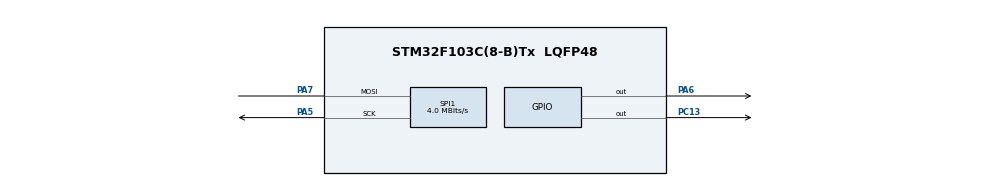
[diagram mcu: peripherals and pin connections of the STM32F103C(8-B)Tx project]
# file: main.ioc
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Mcu.Family=STM32F1
Mcu.Name=STM32F103C(8-B)Tx
Mcu.Package=LQFP48
NVIC.PriorityGroup=NVIC_PRIORITYGROUP_4
PA13.Mode=Serial_Wire
PA13.Signal=SYS_JTMS-SWDIO
PA14.Mode=Serial_Wire
PA14.Signal=SYS_JTCK-SWCLK
PA5.Mode=Simplex_Bidirectional_Master
PA5.Signal=SPI1_SCK
PA6.Signal=GPIO_Output
PA7.Mode=Simplex_Bidirectional_Master
PA7.Signal=SPI1_MOSI
PC13-TAMPER-RTC.Signal=GPIO_Output
ProjectManager.HeapSize=0x200
ProjectManager.StackSize=0x400
ProjectManager.TargetToolchain=Makefile
RCC.APB1Freq_Value=8000000
RCC.APB2Freq_Value=8000000
SPI1.CalculateBaudRate=4.0 MBits/s
SPI1.Direction=SPI_DIRECTION_1LINE
SPI1.Mode=SPI_MODE_MASTER
SPI1.VirtualType=VM_MASTER
board=blue-pill-blink

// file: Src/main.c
/* USER CODE BEGIN Header */
/**
  ******************************************************************************
  * @file           : main.c
  * @brief          : Main program body
  ******************************************************************************
  ** This notice applies to any and all portions of this file
  * that are not between comment pairs USER CODE BEGIN and
  * USER CODE END. Other portions of this file, whether
  * inserted by the user or by software development tools
  * are owned by their respective copyright owners.
  *
  * COPYRIGHT(c) 2021 STMicroelectronics
  *
  * Redistribution and use in source and binary forms, with or without modification,
  * are permitted provided that the following conditions are met:
  *   1. Redistributions of source code must retain the above copyright notice,
  *      this list of conditions and the following disclaimer.
  *   2. Redistributions in binary form must reproduce the above copyright notice,
  *      this list of conditions and the following disclaimer in the documentation
  *      and/or other materials provided with the distribution.
  *   3. Neither the name of STMicroelectronics nor the names of its contributors
  *      may be used to endorse or promote products derived from this software
  *      without specific prior written permission.
  *
  * THIS SOFTWARE IS PROVIDED BY THE COPYRIGHT HOLDERS AND CONTRIBUTORS "AS IS"
  * AND ANY EXPRESS OR IMPLIED WARRANTIES, INCLUDING, BUT NOT LIMITED TO, THE
  * IMPLIED WARRANTIES OF MERCHANTABILITY AND FITNESS FOR A PARTICULAR PURPOSE ARE
  * DISCLAIMED. IN NO EVENT SHALL THE COPYRIGHT HOLDER OR CONTRIBUTORS BE LIABLE
  * FOR ANY DIRECT, INDIRECT, INCIDENTAL, SPECIAL, EXEMPLARY, OR CONSEQUENTIAL
  * DAMAGES (INCLUDING, BUT NOT LIMITED TO, PROCUREMENT OF SUBSTITUTE GOODS OR
  * SERVICES; LOSS OF USE, DATA, OR PROFITS; OR BUSINESS INTERRUPTION) HOWEVER
  * CAUSED AND ON ANY THEORY OF LIABILITY, WHETHER IN CONTRACT, STRICT LIABILITY,
  * OR TORT (INCLUDING NEGLIGENCE OR OTHERWISE) ARISING IN ANY WAY OUT OF THE USE
  * OF THIS SOFTWARE, EVEN IF ADVISED OF THE POSSIBILITY OF SUCH DAMAGE.
  *
  ******************************************************************************
  */
/* USER CODE END Header */

#include "main.h"

/* USER CODE BEGIN Includes */
#include <max7219.h>
/* USER CODE END Includes */

SPI_HandleTypeDef hspi1;

/* USER CODE BEGIN PV */
/* Private variables ---------------------------------------------------------*/

/* USER CODE END PV */

void SystemClock_Config(void);
static void MX_GPIO_Init(void);
static void MX_SPI1_Init(void);
/* USER CODE BEGIN PFP */
/* Private function prototypes -----------------------------------------------*/

/* USER CODE END PFP */

/* USER CODE BEGIN 0 */
void init() {
	max7219_Init();
	max7219_SetIntensivity(0);
	max7219_TurnOn();
}

void loop() {
	// Display "01234567"
	max7219_SendData(8, MAX7219_SYM_0);
	max7219_SendData(7, MAX7219_SYM_1);
	max7219_SendData(6, MAX7219_SYM_2);
	max7219_SendData(5, MAX7219_SYM_3);
	max7219_SendData(4, MAX7219_SYM_4);
	max7219_SendData(3, MAX7219_SYM_5);
	max7219_SendData(2, MAX7219_SYM_6);
	max7219_SendData(1, MAX7219_SYM_7);
    HAL_Delay(3000);

	// Display "89ABCDEF"
	max7219_SendData(8, MAX7219_SYM_8);
	max7219_SendData(7, MAX7219_SYM_9);
	max7219_SendData(6, MAX7219_SYM_A);
	max7219_SendData(5, MAX7219_SYM_B);
	max7219_SendData(4, MAX7219_SYM_C);
	max7219_SendData(3, MAX7219_SYM_D);
	max7219_SendData(2, MAX7219_SYM_E);
	max7219_SendData(1, MAX7219_SYM_F);
    HAL_Delay(3000);

	// Display "tr14.012.3"
	max7219_SendData(8, MAX7219_SYM_T);
	max7219_SendData(7, MAX7219_SYM_R);
	max7219_SendData(6, MAX7219_SYM_1);
	max7219_SendData(5, MAX7219_SYM_4 | MAX7219_SYM_DOT);
	max7219_SendData(4, MAX7219_SYM_0);
	max7219_SendData(3, MAX7219_SYM_1);
	max7219_SendData(2, MAX7219_SYM_2 | MAX7219_SYM_DOT);
	max7219_SendData(1, MAX7219_SYM_3);
    HAL_Delay(3000);

	// Display "SPEEd --"
	max7219_SendData(8, MAX7219_SYM_S);
	max7219_SendData(7, MAX7219_SYM_P);
	max7219_SendData(6, MAX7219_SYM_E);
	max7219_SendData(5, MAX7219_SYM_E);
	max7219_SendData(4, MAX7219_SYM_D);
	max7219_SendData(3, MAX7219_SYM_BLANK);
	max7219_SendData(2, MAX7219_SYM_MINUS);
	max7219_SendData(1, MAX7219_SYM_MINUS);
    HAL_Delay(3000);

	// Display "LIGHt on"
	max7219_SendData(8, MAX7219_SYM_L);
	max7219_SendData(7, MAX7219_SYM_I);
	max7219_SendData(6, MAX7219_SYM_G);
	max7219_SendData(5, MAX7219_SYM_H);
	max7219_SendData(4, MAX7219_SYM_T);
	max7219_SendData(3, MAX7219_SYM_BLANK);
	max7219_SendData(2, MAX7219_SYM_O);
	max7219_SendData(1, MAX7219_SYM_N);
    HAL_Delay(3000);

	// Display "YES no  "
	max7219_SendData(8, MAX7219_SYM_Y);
	max7219_SendData(7, MAX7219_SYM_E);
	max7219_SendData(6, MAX7219_SYM_S);
	max7219_SendData(5, MAX7219_SYM_BLANK);
	max7219_SendData(4, MAX7219_SYM_N);
	max7219_SendData(3, MAX7219_SYM_O);
	max7219_SendData(2, MAX7219_SYM_BLANK);
	max7219_SendData(1, MAX7219_SYM_BLANK);
    HAL_Delay(3000);

	// Display "PHASE 3°"
	max7219_SendData(8, MAX7219_SYM_P);
	max7219_SendData(7, MAX7219_SYM_H);
	max7219_SendData(6, MAX7219_SYM_A);
	max7219_SendData(5, MAX7219_SYM_S);
	max7219_SendData(4, MAX7219_SYM_E);
	max7219_SendData(3, MAX7219_SYM_BLANK);
	max7219_SendData(2, MAX7219_SYM_3);
	max7219_SendData(1, MAX7219_SYM_DEGREE);
    HAL_Delay(3000);

}

/* USER CODE END 0 */

int main(void)
{

  /* MCU Configuration--------------------------------------------------------*/

  /* Reset of all peripherals, Initializes the Flash interface and the Systick. */
  HAL_Init();

  /* Configure the system clock */
  SystemClock_Config();

  /* Initialize all configured peripherals */
  MX_GPIO_Init();
  MX_SPI1_Init();
  /* USER CODE BEGIN 2 */
  init();

  /* USER CODE END 2 */

  /* Infinite loop */
  /* USER CODE BEGIN WHILE */
  while (1)
  {
    loop();
    /* USER CODE END WHILE */

  }
}

void SystemClock_Config(void)
{
  RCC_OscInitTypeDef RCC_OscInitStruct = {0};
  RCC_ClkInitTypeDef RCC_ClkInitStruct = {0};

  /**Initializes the CPU, AHB and APB busses clocks
  */
  RCC_OscInitStruct.OscillatorType = RCC_OSCILLATORTYPE_HSI;
  RCC_OscInitStruct.HSIState = RCC_HSI_ON;
  RCC_OscInitStruct.HSICalibrationValue = RCC_HSICALIBRATION_DEFAULT;
  RCC_OscInitStruct.PLL.PLLState = RCC_PLL_NONE;
  if (HAL_RCC_OscConfig(&RCC_OscInitStruct) != HAL_OK)
  {
    Error_Handler();
  }
  /**Initializes the CPU, AHB and APB busses clocks
  */
  RCC_ClkInitStruct.ClockType = RCC_CLOCKTYPE_HCLK|RCC_CLOCKTYPE_SYSCLK
                              |RCC_CLOCKTYPE_PCLK1|RCC_CLOCKTYPE_PCLK2;
  RCC_ClkInitStruct.SYSCLKSource = RCC_SYSCLKSOURCE_HSI;
  RCC_ClkInitStruct.AHBCLKDivider = RCC_SYSCLK_DIV1;
  RCC_ClkInitStruct.APB1CLKDivider = RCC_HCLK_DIV1;
  RCC_ClkInitStruct.APB2CLKDivider = RCC_HCLK_DIV1;

  if (HAL_RCC_ClockConfig(&RCC_ClkInitStruct, FLASH_LATENCY_0) != HAL_OK)
  {
    Error_Handler();
  }
}

static void MX_SPI1_Init(void)
{

  /* SPI1 parameter configuration*/
  hspi1.Instance = SPI1;
  hspi1.Init.Mode = SPI_MODE_MASTER;
  hspi1.Init.Direction = SPI_DIRECTION_1LINE;
  hspi1.Init.DataSize = SPI_DATASIZE_8BIT;
  hspi1.Init.CLKPolarity = SPI_POLARITY_LOW;
  hspi1.Init.CLKPhase = SPI_PHASE_1EDGE;
  hspi1.Init.NSS = SPI_NSS_SOFT;
  hspi1.Init.BaudRatePrescaler = SPI_BAUDRATEPRESCALER_2;
  hspi1.Init.FirstBit = SPI_FIRSTBIT_MSB;
  hspi1.Init.TIMode = SPI_TIMODE_DISABLE;
  hspi1.Init.CRCCalculation = SPI_CRCCALCULATION_DISABLE;
  hspi1.Init.CRCPolynomial = 10;
  if (HAL_SPI_Init(&hspi1) != HAL_OK)
  {
    Error_Handler();
  }

}

static void MX_GPIO_Init(void)
{
  GPIO_InitTypeDef GPIO_InitStruct = {0};

  /* GPIO Ports Clock Enable */
  __HAL_RCC_GPIOC_CLK_ENABLE();
  __HAL_RCC_GPIOA_CLK_ENABLE();

  /*Configure GPIO pin Output Level */
  HAL_GPIO_WritePin(GPIOC, GPIO_PIN_13, GPIO_PIN_RESET);

  /*Configure GPIO pin Output Level */
  HAL_GPIO_WritePin(GPIOA, GPIO_PIN_6, GPIO_PIN_RESET);

  /*Configure GPIO pin : PC13 */
  GPIO_InitStruct.Pin = GPIO_PIN_13;
  GPIO_InitStruct.Mode = GPIO_MODE_OUTPUT_PP;
  GPIO_InitStruct.Pull = GPIO_NOPULL;
  GPIO_InitStruct.Speed = GPIO_SPEED_FREQ_LOW;
  HAL_GPIO_Init(GPIOC, &GPIO_InitStruct);

  /*Configure GPIO pin : PA6 */
  GPIO_InitStruct.Pin = GPIO_PIN_6;
  GPIO_InitStruct.Mode = GPIO_MODE_OUTPUT_PP;
  GPIO_InitStruct.Pull = GPIO_NOPULL;
  GPIO_InitStruct.Speed = GPIO_SPEED_FREQ_LOW;
  HAL_GPIO_Init(GPIOA, &GPIO_InitStruct);

}

void Error_Handler(void)
{
  while(1)
  {
  }
}

/************************ (C) COPYRIGHT STMicroelectronics *****END OF FILE****/
